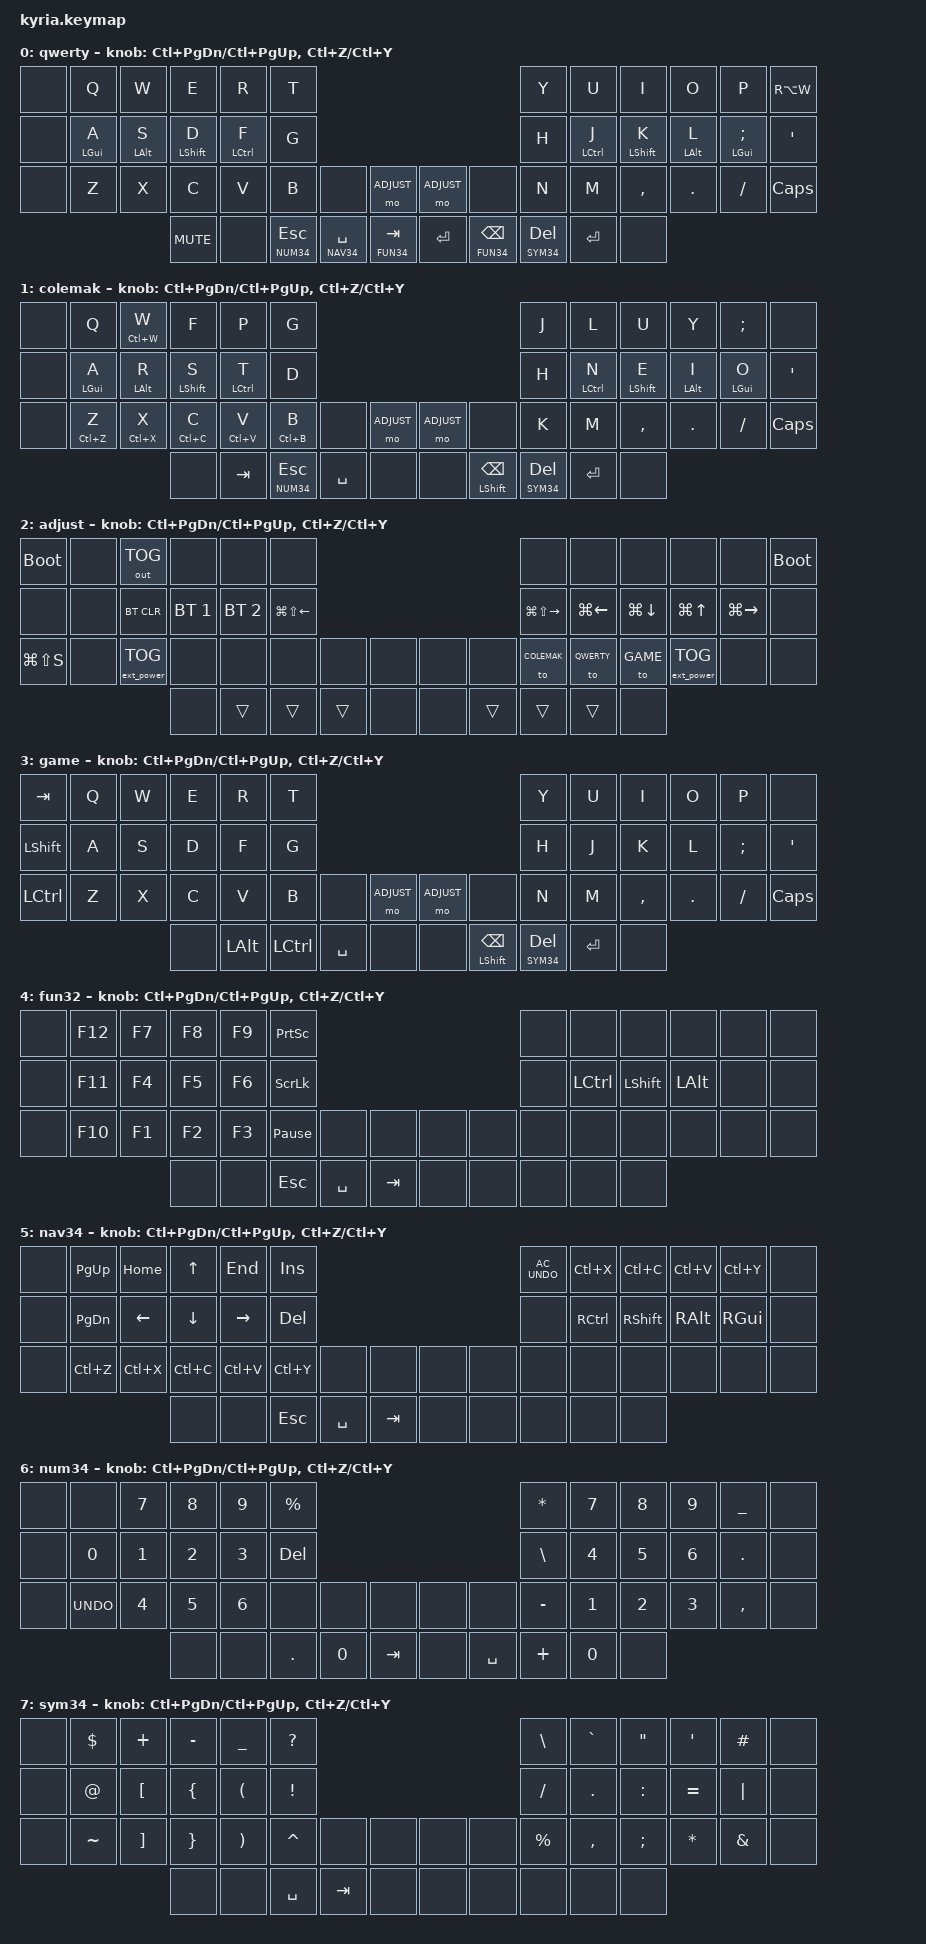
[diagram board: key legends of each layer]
/*
 * Copyright (c) 2020 The ZMK Contributors
 *
 * SPDX-License-Identifier: MIT
 */

#include <behaviors.dtsi>
#include <dt-bindings/zmk/keys.h>
#include <dt-bindings/zmk/bt.h>
#include <dt-bindings/zmk/rgb.h>
#include <dt-bindings/zmk/outputs.h>
#include <dt-bindings/zmk/ext_power.h>

//Layer definitions
#define QWERTY      0
#define COLEMAK     1
#define ADJUST      2
#define GAME        3
#define FUN34       4
#define NAV34       5
#define NUM34       6
#define SYM34       7

&left_encoder {
    resolution = <2>;
};

/ {
    behaviors {
        hm: homerow_mods {
            compatible = "zmk,behavior-hold-tap";
            label = "HOMEROW_MODS";
            #binding-cells = <2>;
            tapping-term-ms = <300>;
            quick_tap_ms = <0>;
            flavor = "balanced";
            bindings = <&kp>, <&kp>;
        };
        hm_g: alt_gui {
            compatible = "zmk,behavior-hold-tap";
            label = "HOMEROW_MODS_ALT_GUI";
            #binding-cells = <2>;
            tapping-term-ms = <600>;
            quick_tap_ms = <0>;
            flavor = "tap-preferred";
            bindings = <&kp>, <&kp>;
        };
    };
    
    combos {
        compatible = "zmk,combos";
        combo_up {
            timeout-ms = <50>;
            key-positions = <16 17>;
            bindings = <&kp UP>;
            // slow-release = <true>;
        };
        combo_down {
            timeout-ms = <50>;
            key-positions = <28 29>;
            bindings = <&kp DOWN>;
        };
        combo_right {
            timeout-ms = <50>;
            key-positions = <17 29>;
            bindings = <&kp RIGHT>;
        };
        combo_left {
            timeout-ms = <50>;
            key-positions = <16 28>;
            bindings = <&kp LEFT>;
        };
    };

    keymap {
        compatible = "zmk,keymap";

        qwerty {
            bindings = <
&none   &kp Q         &kp W         &kp E         &kp R         &kp T                                            /**/                               &kp Y           &kp U           &kp I           &kp O        &kp P             &kp RA(W)
&none   &hm_g LGUI A  &hm_g LALT S  &hm LSHFT D   &hm LCTRL F   &kp G                                            /**/                               &kp H           &hm LCTRL J     &hm LSHFT K     &hm_g LALT L &hm_g LGUI SEMI   &kp SQT
&none   &kp Z         &kp X         &kp C         &kp V         &kp B           &none             &mo ADJUST     /**/    &mo ADJUST &none           &kp N           &kp M           &kp COMMA       &kp DOT      &kp FSLH          &kp CAPS
                                    &kp C_MUTE    &none         &lt NUM34 ESC   &lt NAV34 SPACE   &lt FUN34 TAB  /**/    &kp ENTER  &lt FUN34 BSPC  &lt SYM34 DEL   &kp ENTER       &none
            >;
            sensor-bindings = <&inc_dec_kp LC(PG_DN) LC(PG_UP) &inc_dec_kp LC(Z) LC(Y)>;
        };

        colemak {
            bindings = <
&none   &kp Q         &hm LC(W) W   &kp F         &kp P         &kp G                                     /**/                                &kp J           &kp L           &kp U           &kp Y        &kp SEMI       &none
&none   &hm_g LGUI A  &hm_g LALT R  &hm LSHFT S   &hm LCTRL T   &kp D                                     /**/                                &kp H           &hm LCTRL N     &hm LSHFT E     &hm_g LALT I &hm_g LGUI O   &kp SQT
&none   &hm LC(Z) Z   &hm LC(X) X   &hm LC(C) C   &hm LC(V) V   &hm LC(B) B      &none        &mo ADJUST  /**/    &mo ADJUST  &none           &kp K           &kp M           &kp COMMA       &kp DOT      &kp FSLH       &kp CAPS
                                    &none         &kp TAB       &lt NUM34 ESC    &kp SPACE    &none       /**/    &none       &mt LSHFT BSPC  &lt SYM34 DEL   &kp ENTER       &none
            >;
            sensor-bindings = <&inc_dec_kp LC(PG_DN) LC(PG_UP) &inc_dec_kp LC(Z) LC(Y)>;
        };

    //     raise {
    //         bindings = <
    // &none   &kp EXCL         &kp AT         &kp HASH           &kp DOLLAR      &kp PERCENT                    /**/                    &kp CARET   &kp AMPS   &kp STAR    &kp SEMI    &none       &none
    // &none   &hm_g LGUI F1    &hm LALT F2    &hm LSHFT F3       &hm LCTRL F4    &kp F5                         /**/                    &kp LEFT    &kp DOWN   &kp UP      &kp RIGHT   &none       &none
    // &none   &kp F6           &kp F7         &kp F8             &kp F9          &kp F10       &none    &none   /**/    &none   &none   &kp HOME    &kp PG_DN  &kp PG_UP   &kp END     &none       &none
    //                                         &kp C_PLAY_PAUSE   &trans          &mo ADJUST    &trans   &none   /**/    &none   &trans  &trans      &trans     &none
    //         >;
    //         sensor-bindings = <&inc_dec_kp C_VOL_UP C_VOL_DN &inc_dec_kp LC(Z) LC(Y)>;
    //     };

    //     lower {
    //         bindings = <
    // &none   &none   &kp TILDE   &kp LBKT    &kp RBKT    &none                         /**/                        &kp PLUS        &kp N7    &kp N8   &kp N9   &kp STAR   &none
    // &none   &none   &kp UNDER   &kp LPAR    &kp RPAR    &kp GRAVE                     /**/                        &kp MINUS       &kp N4    &kp N5   &kp N6   &kp PIPE   &none
    // &none   &none   &kp PLUS    &kp LBRC    &kp RBRC    &kp TILDE   &none     &none   /**/   &none   &none        &kp EQUAL       &kp N1    &kp N2   &kp N3   &kp BSLH   &none
    //                             &none       &trans      &trans      &trans    &none   /**/   &none   &kp SPACE    &mt ADJUST N0   &kp DOT   &none
    //         >;
    //         sensor-bindings = <&inc_dec_kp LC(PG_DN) LC(PG_UP) &inc_dec_kp LC(Z) LC(Y)>;
    //     };

        adjust {
            bindings = <
&bootloader     &none   &out OUT_TOG            &none           &none          &none                               /**/                     &none               &none           &none          &none               &none           &bootloader
&none           &none   &bt BT_CLR              &bt BT_SEL 1    &bt BT_SEL 2   &kp LG(LS(LEFT))                    /**/                     &kp LG(LS(RIGHT))   &kp LG(LEFT)    &kp LG(DOWN)   &kp LG(UP)          &kp LG(RIGHT)   &none
&kp LG(LS(S))   &none   &ext_power EP_TOG       &none           &none          &none              &none    &none   /**/   &none   &none     &to COLEMAK         &to QWERTY      &to GAME       &ext_power EP_TOG   &none           &none
                                                &none           &trans         &trans             &trans   &none   /**/   &none   &trans    &trans              &trans          &none
            >;
            sensor-bindings = <&inc_dec_kp LC(PG_DN) LC(PG_UP) &inc_dec_kp LC(Z) LC(Y)>;
        };

        game {
            bindings = <
&kp TAB    &kp Q    &kp W   &kp E     &kp R     &kp T                                  /**/                               &kp Y           &kp U           &kp I           &kp O        &kp P             &none
&kp LSHIFT &kp A    &kp S   &kp D     &kp F     &kp G                                  /**/                               &kp H           &kp J           &kp K           &kp L        &kp SEMI          &kp SQT
&kp LCTRL  &kp Z    &kp X   &kp C     &kp V     &kp B           &none      &mo ADJUST  /**/   &mo ADJUST  &none           &kp N           &kp M           &kp COMMA       &kp DOT      &kp FSLH          &kp CAPS
                            &none     &kp LALT  &kp LCTRL       &kp SPACE  &none       /**/   &none       &mt LSHFT BSPC  &lt SYM34 DEL   &kp ENTER       &none
            >;
            sensor-bindings = <&inc_dec_kp LC(PG_DN) LC(PG_UP) &inc_dec_kp LC(Z) LC(Y)>;
        };
        
        fun32 {
            bindings = <
&none   &kp F12    &kp F7   &kp F8     &kp F9     &kp PRINTSCREEN                    /**/                    &none    &none           &none         &none       &none   &none
&none   &kp F11    &kp F4   &kp F5     &kp F6     &kp SCROLLLOCK                     /**/                    &none    &kp LCTRL       &kp LSHIFT    &kp LALT    &none   &none
&none   &kp F10    &kp F1   &kp F2     &kp F3     &kp PAUSE_BREAK &none      &none   /**/   &none   &none    &none    &none           &none         &none       &none   &none
                            &none      &none      &kp ESC         &kp SPACE  &kp TAB /**/   &none   &none    &none    &none           &none
            >;
            sensor-bindings = <&inc_dec_kp LC(PG_DN) LC(PG_UP) &inc_dec_kp LC(Z) LC(Y)>;
        };
        
        nav34 {
            bindings = <
&none   &kp PAGE_UP    &kp HOME   &kp UP      &kp END      &kp INSERT                       /**/                     &kp C_AC_UNDO   &kp LC(X)   &kp LC(C)    &kp LC(V)    &kp LC(Y)  &none
&none   &kp PAGE_DOWN  &kp LEFT   &kp DOWN    &kp RIGHT    &kp DELETE                       /**/                     &none       &kp RCTRL   &kp RSHIFT   &kp RALT     &kp RGUI   &none
&none   &kp LC(Z)      &kp LC(X)  &kp LC(C)   &kp LC(V)    &kp LC(Y)    &none      &none    /**/    &none   &none    &none       &none       &none        &none        &none      &none
                                  &none       &none        &kp ESC      &kp SPACE  &kp TAB  /**/    &none   &none    &none       &none       &none
            >;
            sensor-bindings = <&inc_dec_kp LC(PG_DN) LC(PG_UP) &inc_dec_kp LC(Z) LC(Y)>;
        };

    //             nav34 {
    //         bindings = <
    // &none   &kp LCTRL  &kp LALT  &kp LGUI   &kp LSHIFT  &none                              /**/                    &none    &kp PAGE_UP     &kp UP        &kp HOME    &none    &none
    // &none   &kp ESC    &kp BSPC  &kp SPACE  &kp ENTER   &kp DELETE                         /**/                    &kp BSPC &kp LEFT        &kp DOWN      &kp RIGHT   &kp DEL  &none
    // &none   &kp K_UNDO &kp K_CUT &kp K_COPY &kp K_PASTE &none           &none      &none   /**/   &none   &none    &none    &kp PAGE_DOWN   &none         &kp END     &none    &none
    //                              &none      &trans      &kp SPACE       &kp TAB    &none   /**/   &none   &kp CAPS &kp TAB  &none           &none
    //         >;

    //         sensor-bindings = <&inc_dec_kp LC(PG_DN) LC(PG_UP) &inc_dec_kp LC(Z) LC(Y)>;
    //     };

        num34 {
            bindings = <
&none   &none       &kp N7   &kp N8     &kp N9      &kp PERCENT                         /**/                        &kp STAR        &kp N7    &kp N8   &kp N9   &kp UNDER  &none
&none   &kp N0      &kp N1   &kp N2     &kp N3      &kp DELETE                          /**/                        &kp BSLH        &kp N4    &kp N5   &kp N6   &kp DOT    &none
&none   &kp K_UNDO  &kp N4   &kp N5     &kp N6      &none           &none      &none    /**/   &none   &none        &kp MINUS       &kp N1    &kp N2   &kp N3   &kp COMMA  &none
                             &none      &none       &kp DOT         &kp N0     &kp TAB  /**/   &none   &kp SPACE    &kp PLUS        &kp N0    &none
            >;
            sensor-bindings = <&inc_dec_kp LC(PG_DN) LC(PG_UP) &inc_dec_kp LC(Z) LC(Y)>;
        };

    //     num34 {
    //         bindings = <
    // &none   &none      &none     &kp LPAR   &kp RPAR    &kp PERCENT                        /**/                        &kp STAR        &kp N7    &kp N8   &kp N9   &kp UNDER  &none
    // &none   &kp ESC    &kp BSPC  &kp SPACE  &kp ENTER   &kp DELETE                         /**/                        &kp BSLH        &kp N4    &kp N5   &kp N6   &kp DOT    &none
    // &none   &kp K_UNDO &kp K_CUT &kp K_COPY &kp K_PASTE &none           &none      &none   /**/   &none   &none        &kp MINUS       &kp N1    &kp N2   &kp N3   &kp COMMA  &none
    //                              &none      &none       &kp SPACE       &kp TAB    &none   /**/   &none   &kp SPACE    &kp PLUS        &kp N0    &none
    //         >;
    //         sensor-bindings = <&inc_dec_kp LC(PG_DN) LC(PG_UP) &inc_dec_kp LC(Z) LC(Y)>;
    //     }
        
        sym34 {
            bindings = <
&none   &kp DOLLAR &kp PLUS  &kp MINUS  &kp UNDER   &kp QMARK                          /**/                    &kp BSLH    &kp GRAVE &kp DQT    &kp APOS    &kp HASH    &none         
&none   &kp AT     &kp LBKT  &kp LBRC   &kp LPAR    &kp EXCL                           /**/                    &kp FSLH    &kp DOT   &kp COLON  &kp EQUAL   &kp PIPE    &none        
&none   &kp TILDE  &kp RBKT  &kp RBRC   &kp RPAR    &kp CARET       &none      &none   /**/   &none   &none    &kp PERCENT &kp COMMA &kp SEMI   &kp STAR    &kp AMPS    &none        
                             &none      &none       &kp SPACE       &kp TAB    &none   /**/   &none   &none    &none       &none     &none
            >;
            sensor-bindings = <&inc_dec_kp LC(PG_DN) LC(PG_UP) &inc_dec_kp LC(Z) LC(Y)>;
        };
     };
};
